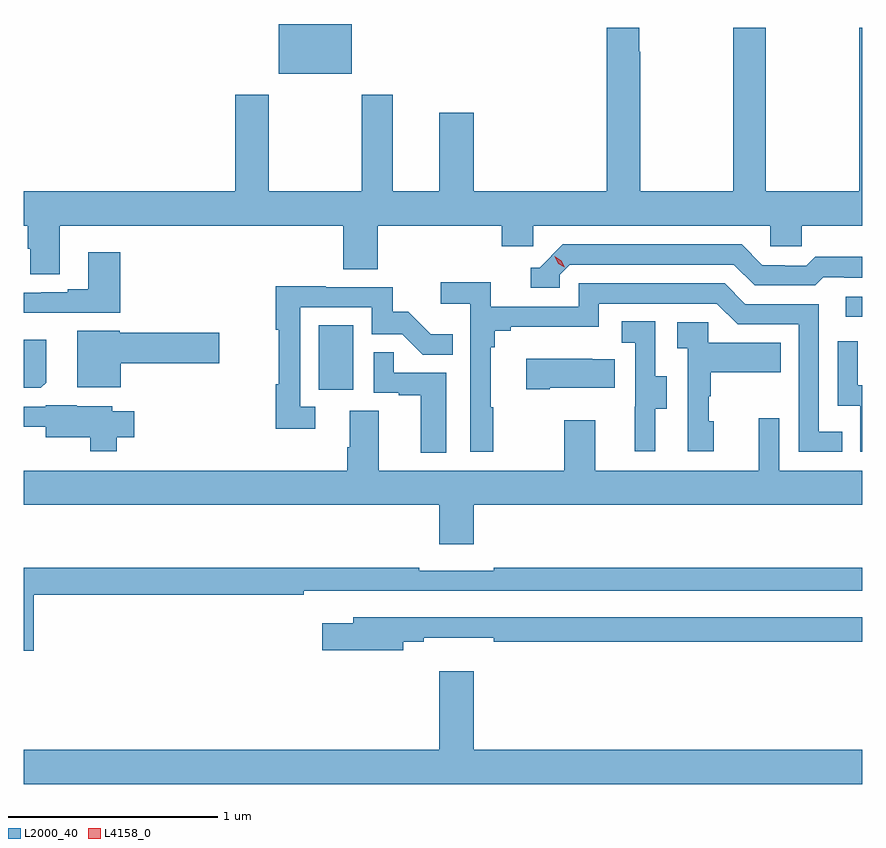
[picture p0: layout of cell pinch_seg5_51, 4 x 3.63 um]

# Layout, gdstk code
import gdstk
lib = gdstk.Library(unit=1e-6, precision=1e-09)
def R(c, l, rs):  # rectangles x0, y0, x1, y1
    for r in rs: c.add(gdstk.rectangle(r[:2], r[2:], *l))
def P(c, l, *ps):  # polygons
    for p in ps: c.add(gdstk.Polygon(p, *l))
L2000_40 = (2000, 40)
L4158_0 = (4158, 0)

pinch_seg5_51 = lib.new_cell('pinch_seg5_51')
R(pinch_seg5_51, L2000_40, [(1099.496,902.598,1099.66,902.905), (1102.011,902.946,1102.089,903.042), (1099.304,904.106,1099.654,904.343)])
P(pinch_seg5_51, L2000_40, [(1098.259,903.38),(1099.613,903.38),(1099.613,903.172),(1099.778,903.172),(1099.778,903.38),(1100.369,903.38),(1100.369,903.282),(1100.52,903.282),(1100.52,903.38),(1101.651,903.38),(1101.651,903.282),(1101.801,903.282),(1101.801,903.38),(1102.089,903.38),(1102.089,904.324),(1102.075,904.324),(1102.075,903.544),(1101.63,903.544),(1101.63,904.324),(1101.475,904.324),(1101.475,903.544),(1101.03,903.544),(1101.03,904.211),(1101.025,904.211),(1101.025,904.324),(1100.87,904.324),(1100.87,903.544),(1100.236,903.544),(1100.236,903.919),(1100.072,903.919),(1100.072,903.544),(1099.849,903.544),(1099.849,904.006),(1099.702,904.006),(1099.702,903.544),(1099.257,903.544),(1099.257,904.006),(1099.097,904.006),(1099.097,903.544),(1098.089,903.544),(1098.089,903.38),(1098.107,903.38),(1098.107,903.27),(1098.12,903.27),(1098.12,903.148),(1098.259,903.148)],
  [(1100.646,903.147),(1100.694,903.195),(1101.477,903.195),(1101.576,903.096),(1101.865,903.096),(1101.904,903.135),(1102.003,903.135),(1102.003,903.132),(1102.089,903.132),(1102.089,903.232),(1101.865,903.232),(1101.823,903.189),(1101.72,903.189),(1101.72,903.192),(1101.613,903.192),(1101.514,903.291),(1100.661,903.291),(1100.55,903.18),(1100.507,903.18),(1100.507,903.084),(1100.646,903.084)],
  [(1098.548,903.253),(1098.395,903.253),(1098.395,903.076),(1098.299,903.076),(1098.299,903.063),(1098.172,903.063),(1098.172,903.06),(1098.089,903.06),(1098.089,902.966),(1098.548,902.966)],
  [(1100.329,902.513),(1100.317,902.513),(1100.317,902.801),(1100.336,902.801),(1100.336,902.878),(1100.413,902.878),(1100.413,902.897),(1100.832,902.897),(1100.832,903.009),(1101.396,903.009),(1101.495,902.91),(1101.786,902.91),(1101.786,902.301),(1101.995,902.301),(1101.995,902.397),(1101.882,902.397),(1101.882,903.006),(1101.532,903.006),(1101.433,903.105),(1100.736,903.105),(1100.736,902.994),(1100.318,902.994),(1100.318,903.11),(1100.079,903.11),(1100.079,903.008),(1100.22,903.008),(1100.22,902.301),(1100.329,902.301)],
  [(1099.48,902.517),(1099.407,902.517),(1099.407,902.991),(1099.749,902.991),(1099.749,902.862),(1099.894,902.862),(1099.992,902.764),(1100.135,902.764),(1100.135,902.863),(1100.031,902.863),(1099.924,902.97),(1099.848,902.97),(1099.848,903.087),(1099.529,903.087),(1099.529,903.092),(1099.291,903.092),(1099.291,902.884),(1099.306,902.884),(1099.306,902.624),(1099.291,902.624),(1099.291,902.412),(1099.48,902.412)],
  [(1101.103,902.506),(1101.157,902.506),(1101.157,902.661),(1101.102,902.661),(1101.102,902.924),(1100.943,902.924),(1100.943,902.821),(1101.006,902.821),(1101.006,902.517),(1101.005,902.517),(1101.005,902.304),(1101.103,902.304)],
  [(1101.382,902.448),(1101.357,902.448),(1101.357,902.567),(1101.367,902.567),(1101.367,902.681),(1101.701,902.681),(1101.701,902.821),(1101.354,902.821),(1101.354,902.919),(1101.207,902.919),(1101.207,902.795),(1101.258,902.795),(1101.258,902.304),(1101.382,902.304)],
  [(1098.55,902.723),(1099.021,902.723),(1099.021,902.87),(1098.546,902.87),(1098.546,902.878),(1098.344,902.878),(1098.344,902.609),(1098.55,902.609)],
  [(1098.196,902.632),(1098.196,902.836),(1098.089,902.836),(1098.089,902.606),(1098.17,902.606)],
  [(1102.089,902.618),(1102.068,902.618),(1102.068,902.83),(1101.972,902.83),(1101.972,902.52),(1102.08,902.52),(1102.08,902.301),(1102.089,902.301)],
  [(1100.104,902.679),(1099.853,902.679),(1099.853,902.777),(1099.758,902.777),(1099.758,902.583),(1099.879,902.583),(1099.879,902.571),(1099.982,902.571),(1099.982,902.297),(1100.104,902.297)],
  [(1100.599,902.606),(1100.909,902.606),(1100.909,902.743),(1100.801,902.743),(1100.801,902.746),(1100.487,902.746),(1100.487,902.599),(1100.599,902.599)],
  [(1098.533,902.372),(1098.616,902.372),(1098.616,902.494),(1098.51,902.494),(1098.51,902.518),(1098.342,902.518),(1098.342,902.524),(1098.192,902.524),(1098.192,902.517),(1098.089,902.517),(1098.089,902.421),(1098.192,902.421),(1098.192,902.372),(1098.405,902.372),(1098.405,902.303),(1098.533,902.303)],
  [(1100.236,902.048),(1102.089,902.048),(1102.089,902.212),(1101.693,902.212),(1101.693,902.461),(1101.596,902.461),(1101.596,902.212),(1100.815,902.212),(1100.815,902.452),(1100.668,902.452),(1100.668,902.212),(1099.783,902.212),(1099.783,902.498),(1099.643,902.498),(1099.643,902.324),(1099.631,902.324),(1099.631,902.212),(1098.089,902.212),(1098.089,902.048),(1100.072,902.048),(1100.072,901.86),(1100.236,901.86)],
  [(1098.137,901.618),(1099.424,901.618),(1099.424,901.638),(1102.089,901.638),(1102.089,901.747),(1100.332,901.747),(1100.332,901.734),(1099.976,901.734),(1099.976,901.747),(1098.089,901.747),(1098.089,901.353),(1098.137,901.353)],
  [(1099.9,901.396),(1099.996,901.396),(1099.996,901.415),(1100.332,901.415),(1100.332,901.396),(1102.089,901.396),(1102.089,901.512),(1099.661,901.512),(1099.661,901.483),(1099.512,901.483),(1099.512,901.354),(1099.9,901.354)],
  [(1102.089,900.88),(1100.236,900.88),(1100.236,901.255),(1100.072,901.255),(1100.072,900.88),(1098.089,900.88),(1098.089,900.716),(1102.089,900.716)])
P(pinch_seg5_51, L4158_0, [(1100.67,903.181),(1100.639,903.2),(1100.623,903.233),(1100.623,903.234),(1100.623,903.234),(1100.654,903.214),(1100.671,903.181),(1100.671,903.181)])

lib.write_gds('pinch_seg5_51.gds')
